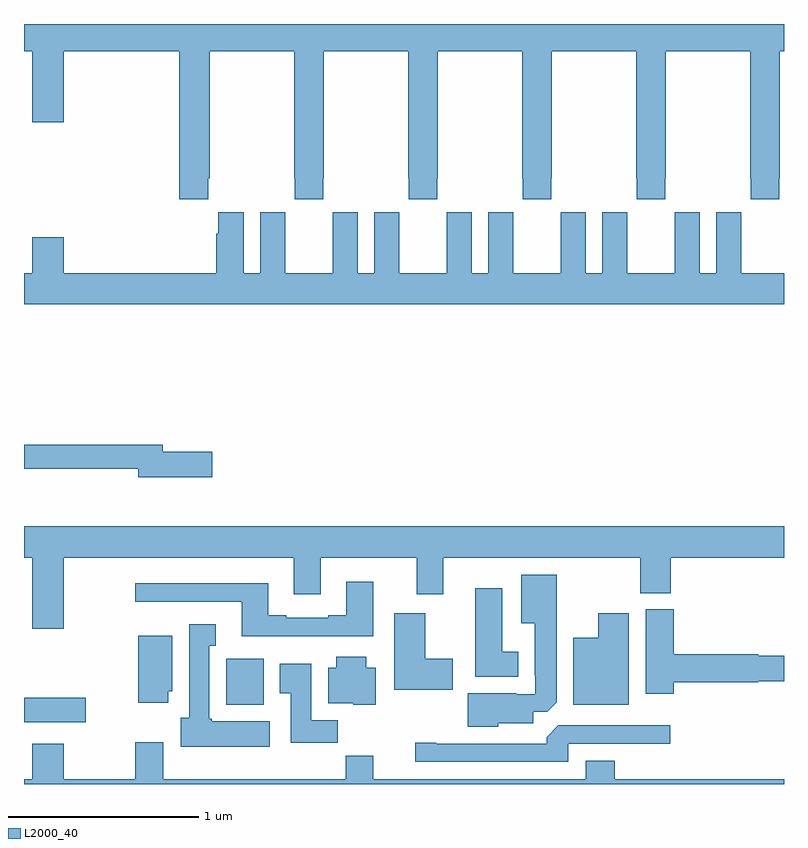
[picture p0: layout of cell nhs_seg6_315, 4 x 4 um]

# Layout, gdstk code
import gdstk
lib = gdstk.Library(unit=1e-6, precision=1e-09)
def R(c, l, rs):  # rectangles x0, y0, x1, y1
    for r in rs: c.add(gdstk.rectangle(r[:2], r[2:], *l))
def P(c, l, *ps):  # polygons
    for p in ps: c.add(gdstk.Polygon(p, *l))
L2000_40 = (2000, 40)

nhs_seg6_315 = lib.new_cell('nhs_seg6_315')
R(nhs_seg6_315, L2000_40, [(129,923.825,129.325,923.955), (130.064,923.918,130.261,924.16)])
P(nhs_seg6_315, L2000_40, [(129.971,926.689),(129.977,926.689),(129.977,927.356),(130.423,927.356),(130.423,926.689),(130.425,926.689),(130.425,926.577),(130.575,926.577),(130.575,926.689),(130.578,926.689),(130.578,927.356),(131.023,927.356),(131.023,926.689),(131.025,926.689),(131.025,926.577),(131.175,926.577),(131.175,926.689),(131.178,926.689),(131.178,927.356),(131.623,927.356),(131.623,926.689),(131.625,926.689),(131.625,926.577),(131.775,926.577),(131.775,926.689),(131.778,926.689),(131.778,927.356),(132.223,927.356),(132.223,926.689),(132.225,926.689),(132.225,926.577),(132.375,926.577),(132.375,926.689),(132.378,926.689),(132.378,927.356),(132.823,927.356),(132.823,926.689),(132.825,926.689),(132.825,926.577),(132.975,926.577),(132.975,926.689),(132.978,926.689),(132.978,927.356),(133,927.356),(133,927.5),(129,927.5),(129,927.356),(129.044,927.356),(129.044,926.982),(129.208,926.982),(129.208,927.356),(129.818,927.356),(129.818,926.577),(129.971,926.577)],
  [(130.374,926.396),(130.374,926.509),(130.244,926.509),(130.244,926.188),(130.156,926.188),(130.156,926.509),(130.022,926.509),(130.022,926.396),(130.013,926.396),(130.013,926.188),(129.208,926.188),(129.208,926.377),(129.044,926.377),(129.044,926.188),(129,926.188),(129,926.024),(133,926.024),(133,926.188),(132.775,926.188),(132.775,926.396),(132.774,926.396),(132.774,926.509),(132.644,926.509),(132.644,926.188),(132.556,926.188),(132.556,926.509),(132.426,926.509),(132.426,926.396),(132.425,926.396),(132.425,926.188),(132.175,926.188),(132.175,926.396),(132.174,926.396),(132.174,926.509),(132.044,926.509),(132.044,926.188),(131.956,926.188),(131.956,926.509),(131.826,926.509),(131.826,926.396),(131.825,926.396),(131.825,926.188),(131.575,926.188),(131.575,926.396),(131.574,926.396),(131.574,926.509),(131.444,926.509),(131.444,926.188),(131.356,926.188),(131.356,926.509),(131.226,926.509),(131.226,926.396),(131.225,926.396),(131.225,926.188),(130.975,926.188),(130.975,926.396),(130.974,926.396),(130.974,926.509),(130.844,926.509),(130.844,926.188),(130.756,926.188),(130.756,926.509),(130.626,926.509),(130.626,926.396),(130.625,926.396),(130.625,926.188),(130.375,926.188),(130.375,926.396)],
  [(129.991,925.25),(129.73,925.25),(129.73,925.286),(129,925.286),(129,925.158),(129.602,925.158),(129.602,925.115),(129.991,925.115)],
  [(129.208,924.692),(130.421,924.692),(130.421,924.498),(130.561,924.498),(130.561,924.692),(131.066,924.692),(131.066,924.498),(131.206,924.498),(131.206,924.692),(132.244,924.692),(132.244,924.505),(132.404,924.505),(132.404,924.692),(133,924.692),(133,924.856),(129,924.856),(129,924.692),(129.044,924.692),(129.044,924.318),(129.208,924.318)],
  [(131.496,923.819),(131.68,923.819),(131.68,923.88),(131.754,923.88),(131.803,923.929),(131.803,924.601),(131.618,924.601),(131.618,924.347),(131.687,924.347),(131.687,924.073),(131.691,924.073),(131.691,923.973),(131.591,923.973),(131.591,923.977),(131.336,923.977),(131.336,923.801),(131.496,923.801)],
  [(130.837,924.565),(130.697,924.565),(130.697,924.388),(130.601,924.388),(130.601,924.375),(130.381,924.375),(130.381,924.388),(130.285,924.388),(130.285,924.556),(129.585,924.556),(129.585,924.459),(130.145,924.459),(130.145,924.278),(130.837,924.278)],
  [(131.602,924.196),(131.518,924.196),(131.518,924.529),(131.375,924.529),(131.375,924.065),(131.602,924.065)],
  [(132.419,924.035),(132.864,924.035),(132.864,924.04),(133,924.04),(133,924.176),(132.864,924.176),(132.864,924.182),(132.419,924.182),(132.419,924.42),(132.272,924.42),(132.272,923.976),(132.419,923.976)],
  [(131.257,924.159),(131.113,924.159),(131.113,924.4),(130.949,924.4),(130.949,923.996),(131.257,923.996)],
  [(132.184,924.4),(132.023,924.4),(132.023,924.271),(131.891,924.271),(131.891,923.918),(132.184,923.918)],
  [(130.294,923.83),(129.989,923.83),(129.989,923.844),(129.976,923.844),(129.976,924.227),(130.009,924.227),(130.009,924.34),(129.869,924.34),(129.869,923.85),(129.824,923.85),(129.824,923.696),(130.294,923.696)],
  [(129.76,923.988),(129.781,923.988),(129.781,924.28),(129.602,924.28),(129.602,923.928),(129.76,923.928)],
  [(130.852,924.112),(130.801,924.112),(130.801,924.169),(130.643,924.169),(130.643,924.112),(130.601,924.112),(130.601,923.924),(130.734,923.924),(130.734,923.918),(130.852,923.918)],
  [(130.652,923.836),(130.513,923.836),(130.513,924.133),(130.346,924.133),(130.346,923.977),(130.403,923.977),(130.403,923.718),(130.652,923.718)],
  [(131.865,923.712),(132.4,923.712),(132.4,923.808),(131.811,923.808),(131.75,923.746),(131.75,923.712),(131.17,923.712),(131.17,923.717),(131.058,923.717),(131.058,923.616),(131.865,923.616)],
  [(133,923.524),(132.11,923.524),(132.11,923.623),(131.957,923.623),(131.957,923.524),(130.837,923.524),(130.837,923.648),(130.693,923.648),(130.693,923.524),(129.733,923.524),(129.733,923.719),(129.586,923.719),(129.586,923.524),(129.208,923.524),(129.208,923.713),(129.044,923.713),(129.044,923.524),(129,923.524),(129,923.5),(133,923.5)])

lib.write_gds('nhs_seg6_315.gds')
